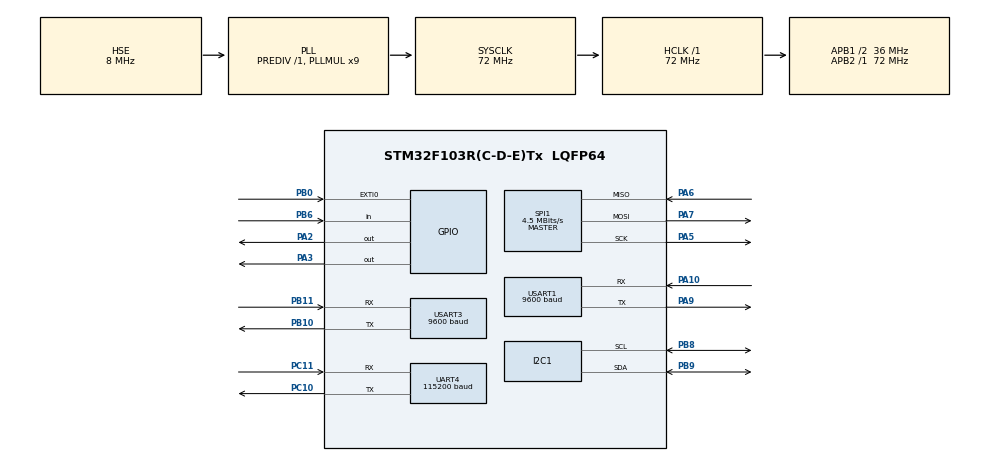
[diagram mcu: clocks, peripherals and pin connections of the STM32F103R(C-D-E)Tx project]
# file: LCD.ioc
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I2C1.I2C_Mode=I2C_Standard
Mcu.Family=STM32F1
Mcu.Name=STM32F103R(C-D-E)Tx
Mcu.Package=LQFP64
NVIC.EXTI0_IRQn=true\:0\:0\:false\:false\:true\:true\:true\:true
NVIC.PriorityGroup=NVIC_PRIORITYGROUP_4
NVIC.USART1_IRQn=true\:0\:0\:false\:false\:true\:true\:true\:true
PA10.Mode=Asynchronous
PA10.Signal=USART1_RX
PA13.Mode=Serial_Wire
PA13.Signal=SYS_JTMS-SWDIO
PA14.Mode=Serial_Wire
PA14.Signal=SYS_JTCK-SWCLK
PA2.PinState=GPIO_PIN_RESET
PA2.Signal=GPIO_Output
PA3.GPIO_Speed=GPIO_SPEED_FREQ_LOW
PA3.PinState=GPIO_PIN_RESET
PA3.Signal=GPIO_Output
PA5.Mode=Full_Duplex_Master
PA5.Signal=SPI1_SCK
PA6.Mode=Full_Duplex_Master
PA6.Signal=SPI1_MISO
PA7.Mode=Full_Duplex_Master
PA7.Signal=SPI1_MOSI
PA9.Mode=Asynchronous
PA9.Signal=USART1_TX
PB0.GPIO_ModeDefaultEXTI=GPIO_MODE_IT_FALLING
PB0.GPIO_PuPd=GPIO_PULLUP
PB0.Signal=GPXTI0
PB10.Mode=Asynchronous
PB10.Signal=USART3_TX
PB11.Mode=Asynchronous
PB11.Signal=USART3_RX
PB6.Signal=GPIO_Input
PB8.Mode=I2C
PB8.Signal=I2C1_SCL
PB9.Mode=I2C
PB9.Signal=I2C1_SDA
PC10.Mode=Asynchronous
PC10.Signal=UART4_TX
PC11.Mode=Asynchronous
PC11.Signal=UART4_RX
PD0-OSC_IN.Mode=HSE-External-Oscillator
PD0-OSC_IN.Signal=RCC_OSC_IN
PD1-OSC_OUT.Mode=HSE-External-Oscillator
PD1-OSC_OUT.Signal=RCC_OSC_OUT
ProjectManager.HeapSize=0x200
ProjectManager.StackSize=0x400
ProjectManager.TargetToolchain=STM32CubeIDE
RCC.ADCPresc=RCC_ADCPCLK2_DIV6
RCC.AHBFreq_Value=72000000
RCC.APB1CLKDivider=RCC_HCLK_DIV2
RCC.APB1Freq_Value=36000000
RCC.APB1TimFreq_Value=72000000
RCC.APB2Freq_Value=72000000
RCC.APB2TimFreq_Value=72000000
RCC.HCLKFreq_Value=72000000
RCC.PLLMUL=RCC_PLL_MUL9
RCC.PLLSourceVirtual=RCC_PLLSOURCE_HSE
RCC.SYSCLKFreq_VALUE=72000000
RCC.SYSCLKSource=RCC_SYSCLKSOURCE_PLLCLK
RCC.USBFreq_Value=72000000
SPI1.BaudRatePrescaler=SPI_BAUDRATEPRESCALER_16
SPI1.CLKPhase=SPI_PHASE_1EDGE
SPI1.CLKPolarity=SPI_POLARITY_LOW
SPI1.CalculateBaudRate=4.5 MBits/s
SPI1.Direction=SPI_DIRECTION_2LINES
SPI1.Mode=SPI_MODE_MASTER
SPI1.VirtualType=VM_MASTER
UART4.BaudRate=115200
UART4.VirtualMode=Asynchronous
USART1.BaudRate=9600
USART1.VirtualMode=VM_ASYNC
USART3.BaudRate=9600
USART3.VirtualMode=VM_ASYNC
board=custom

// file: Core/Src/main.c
/* USER CODE BEGIN Header */
/**
  ******************************************************************************
  * @file           : main.c
  * @brief          : Main program body
  ******************************************************************************
  * @attention
  *
  * Copyright (c) 2025 STMicroelectronics.
  * All rights reserved.
  *
  * This software is licensed under terms that can be found in the LICENSE file
  * in the root directory of this software component.
  * If no LICENSE file comes with this software, it is provided AS-IS.
  *
  ******************************************************************************
  */
/* USER CODE END Header */
#include "main.h"

/* USER CODE BEGIN Includes */
#include "stm32f1xx_hal.h"
#include "string.h"
#include "stdio.h"
#include "delay.h"
#include "ili9341.h"
#include "fonts.h"
#include "gps.h"
#include "DHT.h"
#include "PMS.h"
#include <stdio.h>
/* USER CODE END Includes */

I2C_HandleTypeDef hi2c1;

SPI_HandleTypeDef hspi1;

UART_HandleTypeDef huart4;
UART_HandleTypeDef huart1;
UART_HandleTypeDef huart3;

/* USER CODE BEGIN PV */
#define UART_BUFFER_SIZE 2048
/* USER CODE END PV */

void SystemClock_Config(void);
static void MX_GPIO_Init(void);
static void MX_SPI1_Init(void);
static void MX_USART1_UART_Init(void);
static void MX_UART4_Init(void);
static void MX_USART3_UART_Init(void);
static void MX_I2C1_Init(void);
/* USER CODE BEGIN PFP */
void Send_AT_Commands(UART_HandleTypeDef *huart);
void Send_AT_Command(UART_HandleTypeDef *huart, const char *command, uint32_t timeout);
void Send_AT_Command1(UART_HandleTypeDef *huart, const char *command, uint32_t timeout);
void TestUart ();
void ReadDataSensorNew ();
void Max30100 ();
void Max30100_Init();
void TestGPS ();
void TestDHT22();
void TestUart1 ();
/* USER CODE END PFP */

/* USER CODE BEGIN 0 */
char data[1024];
float temperature = 1;
float humidity = 1;
//
UART_HandleTypeDef huart1;
PMS_HandleTypeDef pms;
PMS_DATA dataPM;

PulseOximeter pox;
uint32_t tsLastReport = 0;
void HAL_UART_RxCpltCallback(UART_HandleTypeDef *huart)
{
	if(huart == &huart1) GPS_UART_CallBack();
}

/* USER CODE END 0 */

int main(void)
{

  /* MCU Configuration--------------------------------------------------------*/

  /* Reset of all peripherals, Initializes the Flash interface and the Systick. */
  HAL_Init();

  /* Configure the system clock */
  SystemClock_Config();

  /* Initialize all configured peripherals */
  MX_GPIO_Init();
  MX_SPI1_Init();
  MX_USART1_UART_Init();
  MX_UART4_Init();
  MX_USART3_UART_Init();
  MX_I2C1_Init();
  /* USER CODE BEGIN 2 */
  ILI9341_Init();
  ILI9341_FillScreen(ILI9341_BLACK);

  GPS_Init();
  PMS_Init(&pms, &huart3);
  PMS_WakeUp(&pms);
  HAL_Delay(1000);

  tsLastReport = HAL_GetTick();

  /* USER CODE END 2 */

  /* Infinite loop */
  /* USER CODE BEGIN WHILE */
  while (1)
  {
//	  TestGPS();
//	  HAL_Delay(2000);
	  TestUart();
//	  ReadDataSensorNew();
//	  TestDHT22();
	  HAL_Delay(7000);

    /* USER CODE END WHILE */

  }
}

void SystemClock_Config(void)
{
  RCC_OscInitTypeDef RCC_OscInitStruct = {0};
  RCC_ClkInitTypeDef RCC_ClkInitStruct = {0};

  /** Initializes the RCC Oscillators according to the specified parameters
  * in the RCC_OscInitTypeDef structure.
  */
  RCC_OscInitStruct.OscillatorType = RCC_OSCILLATORTYPE_HSE;
  RCC_OscInitStruct.HSEState = RCC_HSE_ON;
  RCC_OscInitStruct.HSEPredivValue = RCC_HSE_PREDIV_DIV1;
  RCC_OscInitStruct.HSIState = RCC_HSI_ON;
  RCC_OscInitStruct.PLL.PLLState = RCC_PLL_ON;
  RCC_OscInitStruct.PLL.PLLSource = RCC_PLLSOURCE_HSE;
  RCC_OscInitStruct.PLL.PLLMUL = RCC_PLL_MUL9;
  if (HAL_RCC_OscConfig(&RCC_OscInitStruct) != HAL_OK)
  {
    Error_Handler();
  }

  /** Initializes the CPU, AHB and APB buses clocks
  */
  RCC_ClkInitStruct.ClockType = RCC_CLOCKTYPE_HCLK|RCC_CLOCKTYPE_SYSCLK
                              |RCC_CLOCKTYPE_PCLK1|RCC_CLOCKTYPE_PCLK2;
  RCC_ClkInitStruct.SYSCLKSource = RCC_SYSCLKSOURCE_PLLCLK;
  RCC_ClkInitStruct.AHBCLKDivider = RCC_SYSCLK_DIV1;
  RCC_ClkInitStruct.APB1CLKDivider = RCC_HCLK_DIV2;
  RCC_ClkInitStruct.APB2CLKDivider = RCC_HCLK_DIV1;

  if (HAL_RCC_ClockConfig(&RCC_ClkInitStruct, FLASH_LATENCY_2) != HAL_OK)
  {
    Error_Handler();
  }
}

static void MX_I2C1_Init(void)
{

  hi2c1.Instance = I2C1;
  hi2c1.Init.ClockSpeed = 100000;
  hi2c1.Init.DutyCycle = I2C_DUTYCYCLE_2;
  hi2c1.Init.OwnAddress1 = 0;
  hi2c1.Init.AddressingMode = I2C_ADDRESSINGMODE_7BIT;
  hi2c1.Init.DualAddressMode = I2C_DUALADDRESS_DISABLE;
  hi2c1.Init.OwnAddress2 = 0;
  hi2c1.Init.GeneralCallMode = I2C_GENERALCALL_DISABLE;
  hi2c1.Init.NoStretchMode = I2C_NOSTRETCH_DISABLE;
  if (HAL_I2C_Init(&hi2c1) != HAL_OK)
  {
    Error_Handler();
  }

}

static void MX_SPI1_Init(void)
{

  /* SPI1 parameter configuration*/
  hspi1.Instance = SPI1;
  hspi1.Init.Mode = SPI_MODE_MASTER;
  hspi1.Init.Direction = SPI_DIRECTION_2LINES;
  hspi1.Init.DataSize = SPI_DATASIZE_8BIT;
  hspi1.Init.CLKPolarity = SPI_POLARITY_LOW;
  hspi1.Init.CLKPhase = SPI_PHASE_1EDGE;
  hspi1.Init.NSS = SPI_NSS_SOFT;
  hspi1.Init.BaudRatePrescaler = SPI_BAUDRATEPRESCALER_16;
  hspi1.Init.FirstBit = SPI_FIRSTBIT_MSB;
  hspi1.Init.TIMode = SPI_TIMODE_DISABLE;
  hspi1.Init.CRCCalculation = SPI_CRCCALCULATION_DISABLE;
  hspi1.Init.CRCPolynomial = 10;
  if (HAL_SPI_Init(&hspi1) != HAL_OK)
  {
    Error_Handler();
  }

}

static void MX_UART4_Init(void)
{

  huart4.Instance = UART4;
  huart4.Init.BaudRate = 115200;
  huart4.Init.WordLength = UART_WORDLENGTH_8B;
  huart4.Init.StopBits = UART_STOPBITS_1;
  huart4.Init.Parity = UART_PARITY_NONE;
  huart4.Init.Mode = UART_MODE_TX_RX;
  huart4.Init.HwFlowCtl = UART_HWCONTROL_NONE;
  huart4.Init.OverSampling = UART_OVERSAMPLING_16;
  if (HAL_UART_Init(&huart4) != HAL_OK)
  {
    Error_Handler();
  }

}

static void MX_USART1_UART_Init(void)
{

  huart1.Instance = USART1;
  huart1.Init.BaudRate = 9600;
  huart1.Init.WordLength = UART_WORDLENGTH_8B;
  huart1.Init.StopBits = UART_STOPBITS_1;
  huart1.Init.Parity = UART_PARITY_NONE;
  huart1.Init.Mode = UART_MODE_TX_RX;
  huart1.Init.HwFlowCtl = UART_HWCONTROL_NONE;
  huart1.Init.OverSampling = UART_OVERSAMPLING_16;
  if (HAL_UART_Init(&huart1) != HAL_OK)
  {
    Error_Handler();
  }

}

static void MX_USART3_UART_Init(void)
{

  huart3.Instance = USART3;
  huart3.Init.BaudRate = 9600;
  huart3.Init.WordLength = UART_WORDLENGTH_8B;
  huart3.Init.StopBits = UART_STOPBITS_1;
  huart3.Init.Parity = UART_PARITY_NONE;
  huart3.Init.Mode = UART_MODE_TX_RX;
  huart3.Init.HwFlowCtl = UART_HWCONTROL_NONE;
  huart3.Init.OverSampling = UART_OVERSAMPLING_16;
  if (HAL_UART_Init(&huart3) != HAL_OK)
  {
    Error_Handler();
  }

}

static void MX_GPIO_Init(void)
{
  GPIO_InitTypeDef GPIO_InitStruct = {0};

  /* GPIO Ports Clock Enable */
  __HAL_RCC_GPIOD_CLK_ENABLE();
  __HAL_RCC_GPIOA_CLK_ENABLE();
  __HAL_RCC_GPIOB_CLK_ENABLE();
  __HAL_RCC_GPIOC_CLK_ENABLE();

  /*Configure GPIO pin Output Level */
  HAL_GPIO_WritePin(GPIOA, GPIO_PIN_2|GPIO_PIN_3, GPIO_PIN_RESET);

  /*Configure GPIO pins : PA2 PA3 */
  GPIO_InitStruct.Pin = GPIO_PIN_2|GPIO_PIN_3;
  GPIO_InitStruct.Mode = GPIO_MODE_OUTPUT_PP;
  GPIO_InitStruct.Pull = GPIO_NOPULL;
  GPIO_InitStruct.Speed = GPIO_SPEED_FREQ_LOW;
  HAL_GPIO_Init(GPIOA, &GPIO_InitStruct);

  /*Configure GPIO pin : PB0 */
  GPIO_InitStruct.Pin = GPIO_PIN_0;
  GPIO_InitStruct.Mode = GPIO_MODE_IT_FALLING;
  GPIO_InitStruct.Pull = GPIO_PULLUP;
  HAL_GPIO_Init(GPIOB, &GPIO_InitStruct);

  /*Configure GPIO pin : PB6 */
  GPIO_InitStruct.Pin = GPIO_PIN_6;
  GPIO_InitStruct.Mode = GPIO_MODE_INPUT;
  GPIO_InitStruct.Pull = GPIO_NOPULL;
  HAL_GPIO_Init(GPIOB, &GPIO_InitStruct);

  /* EXTI interrupt init*/
  HAL_NVIC_SetPriority(EXTI0_IRQn, 0, 0);
  HAL_NVIC_EnableIRQ(EXTI0_IRQn);

}

/* USER CODE BEGIN 4 */
void TestUart1 (){
    Send_AT_Command(&huart4, "AT1234567123", 15000 );
}

void TestDHT22(){
		DHT_ReadData(&temperature, &humidity);
		sprintf(data, "Temp(C)= %.1f Humidity(%%)= %.1f", temperature, humidity);
		ILI9341_WriteString(0, 0 , data, Font_7x10, ILI9341_CYAN, ILI9341_BLACK);
}
void TestGPS (){
	sprintf(data, "Lat : %3.6f", GPS.dec_latitude);
	ILI9341_WriteString(0, 0 , data, Font_7x10, ILI9341_CYAN, ILI9341_BLACK);
	sprintf(data, "Long : %3.6f", GPS.dec_longitude);
	ILI9341_WriteString(0, 15, data, Font_7x10, ILI9341_CYAN, ILI9341_BLACK);
}

float get_avg(uint16_t *data, int len) {
    float sum = 0;
    for (int i = 0; i < len; i++) sum += data[i];
    return sum / len;
}

float get_ac(uint16_t *data, int len) {
    uint16_t max_val = data[0], min_val = data[0];
    for (int i = 1; i < len; i++) {
        if (data[i] > max_val) max_val = data[i];
        if (data[i] < min_val) min_val = data[i];
    }
    return (float)(max_val - min_val);
}

float calculate_spo2(uint16_t *ir, uint16_t *red, int len) {
    float dc_ir = get_avg(ir, len);
    float dc_red = get_avg(red, len);
    float ac_ir = get_ac(ir, len);
    float ac_red = get_ac(red, len);

    float R = (ac_red / dc_red) / (ac_ir / dc_ir);
    float spo2 = 110 - 25 * R;

    if (spo2 > 100) spo2 = 100;
    if (spo2 < 0) spo2 = 0;

    return spo2;
}
void Max30100_Init(){
	  PulseOximeter_Init(&pox);
	  PulseOximeter_SetOnBeatDetectedCallback(&pox, onBeatDetected);

	  if (!PulseOximeter_Begin(&pox, PULSEOXIMETER_DEBUGGINGMODE_NONE)) {
		  ILI9341_WriteString(0, 0, "Initializing!!" , Font_7x10, ILI9341_CYAN, ILI9341_BLACK);
	      while (1); // Lỗi khởi tạo, dừng lại
	  } else {
		  ILI9341_WriteString(0, 0, "Init Successfull !!" , Font_7x10, ILI9341_CYAN, ILI9341_BLACK);
	  }
	  // Sau khi PulseOximeter_Begin(&pox, ...);
	  // Sau khi PulseOximeter_Begin(&pox, ...);
	  uint8_t spo2cfg = MAX30100_ReadRegister(MAX30100_REG_SPO2_CONFIGURATION);
	  spo2cfg |= (1 << 6); // Bật EN_SPO2
	  MAX30100_WriteRegister(MAX30100_REG_SPO2_CONFIGURATION, spo2cfg);

	  // Đọc lại để kiểm tra
	  spo2cfg = MAX30100_ReadRegister(MAX30100_REG_SPO2_CONFIGURATION);
	  sprintf(data, "SPO2CFG:0x%02X", spo2cfg);
	  ILI9341_WriteString(0, 15, data, Font_7x10, ILI9341_RED, ILI9341_BLACK);
	  MAX30100_WriteRegister(MAX30100_REG_INTERRUPT_STATUS, 0x00);
	  uint8_t mode = MAX30100_ReadRegister(MAX30100_REG_MODE_CONFIGURATION);
	  char dbg[32];
	  sprintf(dbg, "MODE:0x%02X", mode);
	  ILI9341_WriteString(0, 30, dbg, Font_7x10, ILI9341_RED, ILI9341_BLACK);

	  uint8_t status = MAX30100_ReadRegister(MAX30100_REG_INTERRUPT_STATUS);
	  sprintf(dbg, "INT:0x%02X", status);
	  ILI9341_WriteString(0, 45, dbg, Font_7x10, ILI9341_RED, ILI9341_BLACK);

	  uint8_t part_id = MAX30100_GetPartId(&pox.hrm);
	  sprintf(data, "PartID: 0x%02X", part_id);
	  ILI9341_WriteString(0, 60, data, Font_7x10, ILI9341_CYAN, ILI9341_BLACK);

	  HAL_Delay(2000);
	  tsLastReport = HAL_GetTick();
	  ILI9341_FillScreen(ILI9341_BLACK);
}
void Max30100() {
    PulseOximeter_Update(&pox);
    // Định kỳ báo cáo nhịp tim và SpO2
    if (HAL_GetTick() - tsLastReport > 500) {
    	float heartRate = PulseOximeter_GetHeartRate(&pox);
    	uint8_t spo2 = PulseOximeter_GetSpO2(&pox);

        sprintf(data, "HR: %.1f bpm", heartRate);
        ILI9341_WriteString(0, 15, data, Font_7x10, ILI9341_CYAN, ILI9341_BLACK);
        sprintf(data, "SpO2: %d %%", spo2);
        ILI9341_WriteString(0, 30, data, Font_7x10, ILI9341_CYAN, ILI9341_BLACK);

        tsLastReport = HAL_GetTick();
    }
    HAL_Delay(10);
}
void ReadDataSensorNew (){
    if (PMS_ReadUntil(&pms, &dataPM, 2000)) {
    	sprintf(data, "PM1.0: %u ug/m3", dataPM.PM_AE_UG_1_0);
    	ILI9341_WriteString(0, 0, data , Font_11x18, ILI9341_CYAN, ILI9341_BLACK);
    	sprintf(data, "PM2.5: %u ug/m3", dataPM.PM_AE_UG_2_5);
    	ILI9341_WriteString(0, 20, data , Font_11x18, ILI9341_CYAN, ILI9341_BLACK);
    	sprintf(data, "PM10.0: %u ug/m3", dataPM.PM_AE_UG_10_0);
    	ILI9341_WriteString(0, 40, data , Font_11x18, ILI9341_CYAN, ILI9341_BLACK);
    } else {
        ILI9341_WriteString(0, 0, "Timeout" , Font_11x18, ILI9341_CYAN, ILI9341_BLACK);
    }
}

void TestUart (){
	// GPS
	sprintf(data, "Lat : %3.6f", GPS.dec_latitude);
	ILI9341_WriteString(0, 0 , data, Font_7x10, ILI9341_CYAN, ILI9341_BLACK);
	sprintf(data, "Long : %3.6f", GPS.dec_longitude);
	ILI9341_WriteString(0, 15, data, Font_7x10, ILI9341_CYAN, ILI9341_BLACK);

	//DHT22
	DHT_ReadData(&temperature, &humidity);
	sprintf(data, "Temp(C)= %.1f", temperature);
	ILI9341_WriteString(0, 30 , data, Font_7x10, ILI9341_CYAN, ILI9341_BLACK);
	sprintf(data, "Humidity(%%)= %.1f", humidity);
	ILI9341_WriteString(0, 45 , data, Font_7x10, ILI9341_CYAN, ILI9341_BLACK);

	//PM2.5
    if (PMS_ReadUntil(&pms, &dataPM, 2000)) {
    	sprintf(data, "PM1.0: %u ug/m3", dataPM.PM_AE_UG_1_0);
    	ILI9341_WriteString(0, 60, data , Font_7x10, ILI9341_CYAN, ILI9341_BLACK);
    	sprintf(data, "PM2.5: %u ug/m3", dataPM.PM_AE_UG_2_5);
    	ILI9341_WriteString(0, 75, data , Font_7x10, ILI9341_CYAN, ILI9341_BLACK);
    	sprintf(data, "PM10.0: %u ug/m3", dataPM.PM_AE_UG_10_0);
    	ILI9341_WriteString(0, 90, data , Font_7x10, ILI9341_CYAN, ILI9341_BLACK);
    } else {
        ILI9341_WriteString(0, 60, "Timeout" , Font_7x10, ILI9341_CYAN, ILI9341_BLACK);
    }

	//Send data
    // Send Data định kỳ
    if (HAL_GetTick() - tsLastReport > 5000) {
    	Send_AT_Commands(&huart4);
        tsLastReport = HAL_GetTick();
    }
}

void Send_AT_Commands(UART_HandleTypeDef *huart) {
	sprintf(data, "TEMP=%.1f;HUM=%.1f;PM1.0=%d;PM2.5=%d;PM10.0=%d;LAT=%.6f;LON=%.6f", temperature, humidity, dataPM.PM_AE_UG_1_0,dataPM.PM_AE_UG_2_5,dataPM.PM_AE_UG_10_0, GPS.dec_latitude, GPS.dec_longitude );
    Send_AT_Command(huart, data , 10000 );
}

void Send_AT_Command1(UART_HandleTypeDef *huart, const char *command, uint32_t timeout) {
    // Gửi lệnh qua UART

    HAL_UART_Transmit(huart, (uint8_t *)command, strlen(command), HAL_MAX_DELAY);

    // Ch�? phản hồi từ ESP
    uint8_t uart_rx_buffer[UART_BUFFER_SIZE];
    memset(uart_rx_buffer, 0, UART_BUFFER_SIZE); // Xóa buffer
    HAL_UART_Receive(huart, uart_rx_buffer, UART_BUFFER_SIZE, timeout);
	ILI9341_WriteString(0, 130, data , Font_7x10, ILI9341_CYAN, ILI9341_BLACK);
}
void Send_AT_Command(UART_HandleTypeDef *huart, const char *command, uint32_t timeout) {
    char full_command[128];
    snprintf(full_command, sizeof(full_command), "%s\n", command);

    ILI9341_WriteString(0, 110, full_command, Font_7x10, ILI9341_CYAN, ILI9341_BLACK);
    HAL_UART_Transmit(huart, (uint8_t *)full_command, strlen(full_command), HAL_MAX_DELAY);
    HAL_Delay(10);
//    uint8_t uart_rx_buffer[UART_BUFFER_SIZE];
//    memset(uart_rx_buffer, 0, UART_BUFFER_SIZE);
//
//    HAL_StatusTypeDef status = HAL_UART_Receive(huart, uart_rx_buffer, UART_BUFFER_SIZE - 1, timeout);
//
//    if (status == HAL_OK) {
//        uart_rx_buffer[UART_BUFFER_SIZE - 1] = '\0'; // �?ảm bảo kết thúc chuỗi
//        ILI9341_WriteString(0, 130, (char *)uart_rx_buffer, Font_7x10, ILI9341_CYAN, ILI9341_BLACK);
//    } else {
//        ILI9341_WriteString(0, 130, "UART Timeout or Error", Font_7x10, ILI9341_RED, ILI9341_BLACK);
//    }
}

/* USER CODE END 4 */

void Error_Handler(void)
{
  __disable_irq();
  while (1)
  {
  }
}
